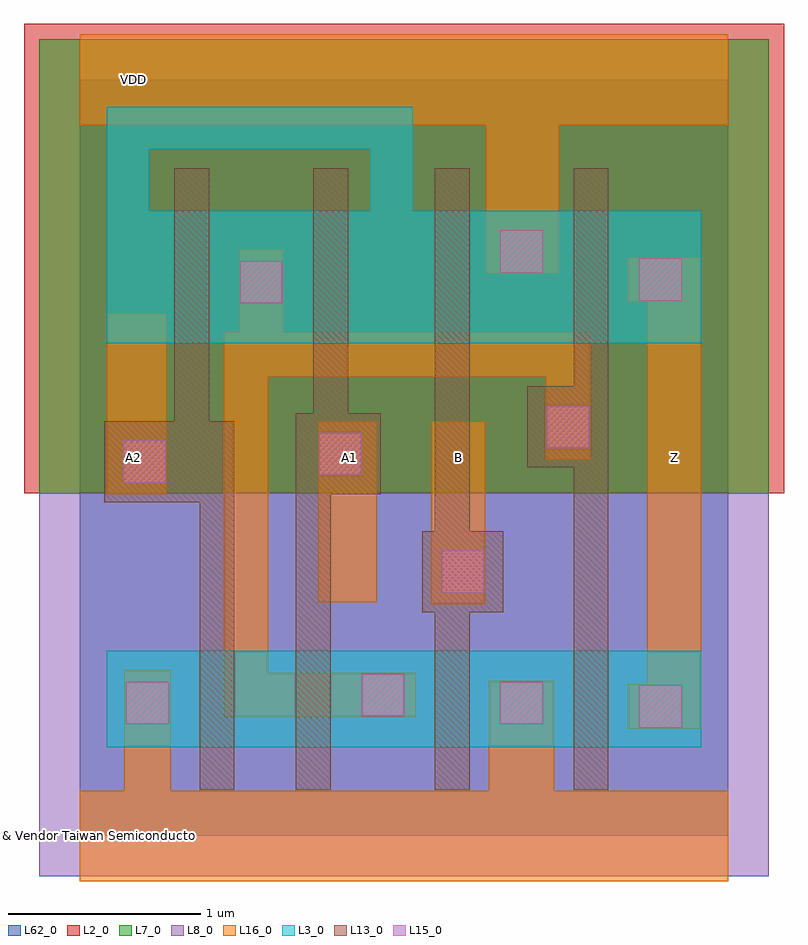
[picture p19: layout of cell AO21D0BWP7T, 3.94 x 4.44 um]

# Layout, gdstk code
import gdstk
lib = gdstk.Library(unit=1e-6, precision=1e-09)
def R(c, l, rs):  # rectangles x0, y0, x1, y1
    for r in rs: c.add(gdstk.rectangle(r[:2], r[2:], *l))
def P(c, l, *ps):  # polygons
    for p in ps: c.add(gdstk.Polygon(p, *l))
L2_0 = (2, 0)
L3_0 = (3, 0)
L7_0 = (7, 0)
L8_0 = (8, 0)
L13_0 = (13, 0)
L15_0 = (15, 0)
L16_0 = (16, 0)
L62_0 = (62, 0)

ao21d0bwp7t = lib.new_cell('AO21D0BWP7T')
R(ao21d0bwp7t, L2_0, [(-0.29,1.775,3.65,4.21)])
R(ao21d0bwp7t, L3_0, [(0.14,0.46,3.22,0.96)])
P(ao21d0bwp7t, L3_0, [(0.14,2.555),(0.14,3.78),(1.725,3.78),(1.725,3.4),(1.505,3.4),(1.505,3.56),(0.36,3.56),(0.36,3.24),(1.505,3.24),(1.505,3.4),(1.725,3.4),(1.725,3.24),(3.22,3.24),(3.22,2.555)])
R(ao21d0bwp7t, L7_0, [(-0.21,1.775,3.57,4.13)])
R(ao21d0bwp7t, L8_0, [(-0.21,-0.21,3.57,1.775)])
P(ao21d0bwp7t, L13_0, [(1.12,0.24),(1.3,0.24),(1.3,1.77),(1.56,1.77),(1.56,2.19),(1.39,2.19),(1.39,3.46),(1.21,3.46),(1.21,2.19),(1.12,2.19)],
  [(1.84,0.24),(1.84,1.16),(1.775,1.16),(1.775,1.58),(1.84,1.58),(1.84,3.46),(2.02,3.46),(2.02,1.58),(2.195,1.58),(2.195,1.16),(2.02,1.16),(2.02,0.24)],
  [(0.62,0.24),(0.62,1.73),(0.125,1.73),(0.125,2.15),(0.49,2.15),(0.49,3.46),(0.67,3.46),(0.67,2.15),(0.8,2.15),(0.8,0.24)],
  [(2.56,0.24),(2.56,1.91),(2.32,1.91),(2.32,2.33),(2.56,2.33),(2.56,3.46),(2.74,3.46),(2.74,0.24)])
R(ao21d0bwp7t, L15_0, [(2.9,0.56,3.12,0.78), (0.24,0.58,0.46,0.8), (2.18,0.58,2.4,0.8), (1.46,0.62,1.68,0.84), (1.875,1.26,2.095,1.48), (0.225,1.83,0.445,2.05), (1.24,1.87,1.46,2.09), (2.42,2.01,2.64,2.23), (0.83,2.76,1.05,2.98), (2.9,2.775,3.12,2.995), (2.18,2.92,2.4,3.14)])
R(ao21d0bwp7t, L16_0, [(1.82,1.2,2.1,2.15), (1.235,1.21,1.54,2.15), (0.14,1.77,0.45,2.71)])
P(ao21d0bwp7t, L16_0, [(0.745,0.615),(0.745,2.61),(0.825,2.61),(0.825,3.04),(1.055,3.04),(1.055,2.61),(2.645,2.61),(2.645,1.95),(2.415,1.95),(2.415,2.38),(0.975,2.38),(0.975,0.845),(1.74,0.845),(1.74,0.615)],
  [(2.105,2.915),(2.105,3.685),(0,3.685),(0,4.155),(3.36,4.155),(3.36,3.685),(2.485,3.685),(2.485,2.915)],
  [(2.84,0.555),(3.22,0.555),(3.22,3),(2.84,3),(2.84,2.77),(2.94,2.77),(2.94,0.785),(2.84,0.785)],
  [(0,-0.235),(0,0.235),(0.23,0.235),(0.23,0.86),(0.47,0.86),(0.47,0.235),(2.12,0.235),(2.12,0.805),(2.46,0.805),(2.46,0.235),(3.36,0.235),(3.36,-0.235)])
R(ao21d0bwp7t, L62_0, [(0,0,3.36,3.92)])
ao21d0bwp7t.add(gdstk.Label('& Vendor Taiwan Semiconductor Manufacturing Corp.', (0,0), layer=63, texttype=63))
ao21d0bwp7t.add(gdstk.Label('& Product tcb018gbwp7t', (0,0), layer=63, texttype=63))
ao21d0bwp7t.add(gdstk.Label('& Version 270a', (0,0), layer=63, texttype=63))
ao21d0bwp7t.add(gdstk.Label('& Metric 13.171', (0,0), layer=63, texttype=63))
ao21d0bwp7t.add(gdstk.Label('& Distributor TSMC', (0,0), layer=63, texttype=63))
ao21d0bwp7t.add(gdstk.Label('& SerialNumber 000000', (0,0), layer=63, texttype=63))
ao21d0bwp7t.add(gdstk.Label('& _Instance_tag AO21D0BWP7T', (0,0), layer=63, texttype=63))
ao21d0bwp7t.add(gdstk.Label('& Vendor Taiwan Semiconductor Manufacturing Corp.', (0,0), layer=11, texttype=0))
ao21d0bwp7t.add(gdstk.Label('& Product tcb018gbwp7t', (0,0), layer=11, texttype=0))
ao21d0bwp7t.add(gdstk.Label('& Version 270a', (0,0), layer=11, texttype=0))
ao21d0bwp7t.add(gdstk.Label('& Metric 13.171', (0,0), layer=11, texttype=0))
ao21d0bwp7t.add(gdstk.Label('& Distributor TSMC', (0,0), layer=11, texttype=0))
ao21d0bwp7t.add(gdstk.Label('& SerialNumber 000000', (0,0), layer=11, texttype=0))
ao21d0bwp7t.add(gdstk.Label('& _Instance_tag AO21D0BWP7T', (0,0), layer=11, texttype=0))
ao21d0bwp7t.add(gdstk.Label('AO21D0BWP7T', (0,0), layer=59, texttype=0))
ao21d0bwp7t.add(gdstk.Label('Z', (3.08,1.96), layer=40, texttype=0))
ao21d0bwp7t.add(gdstk.Label('B', (1.96,1.96), layer=40, texttype=0))
ao21d0bwp7t.add(gdstk.Label('A1', (1.4,1.96), layer=40, texttype=0))
ao21d0bwp7t.add(gdstk.Label('VDD', (0.28,3.92), layer=40, texttype=0))
ao21d0bwp7t.add(gdstk.Label('A2', (0.28,1.96), layer=40, texttype=0))
ao21d0bwp7t.add(gdstk.Label('VSS', (0.28,0), layer=40, texttype=0))

lib.write_gds('AO21D0BWP7T.gds')
